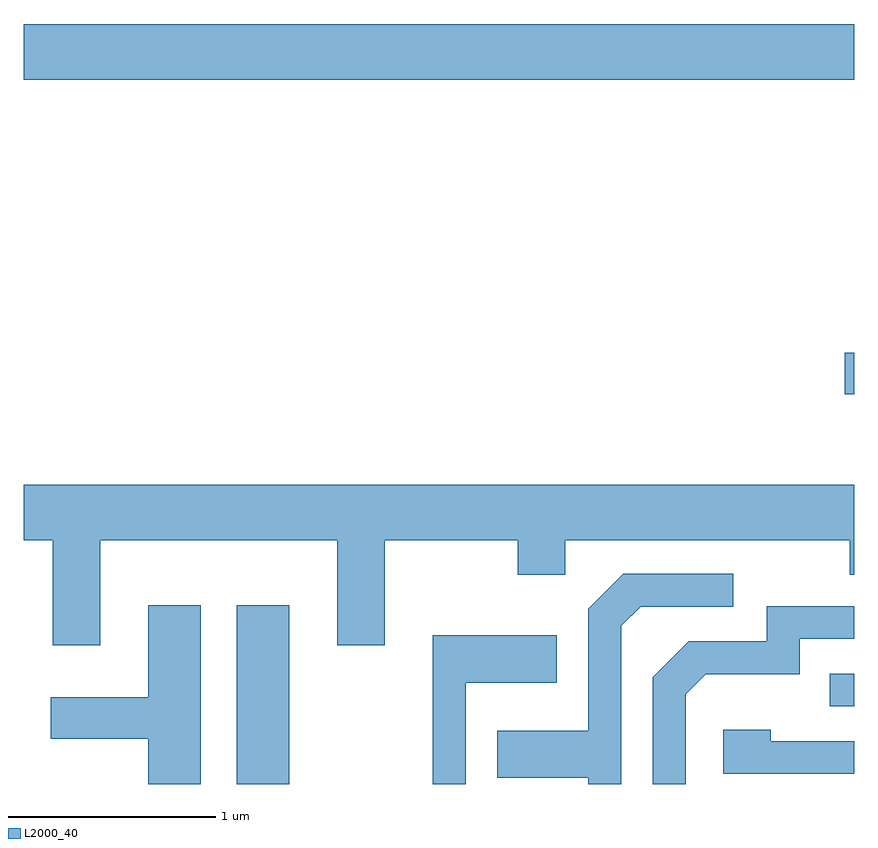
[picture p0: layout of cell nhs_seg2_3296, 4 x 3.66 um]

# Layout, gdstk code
import gdstk
lib = gdstk.Library(unit=1e-6, precision=1e-09)
def R(c, l, rs):  # rectangles x0, y0, x1, y1
    for r in rs: c.add(gdstk.rectangle(r[:2], r[2:], *l))
def P(c, l, *ps):  # polygons
    for p in ps: c.add(gdstk.Polygon(p, *l))
L2000_40 = (2000, 40)

nhs_seg2_3296 = lib.new_cell('nhs_seg2_3296')
R(nhs_seg2_3296, L2000_40, [(282.636,1053.802,282.889,1054.664), (285.493,1054.176,285.611,1054.334), (285.566,1055.681,285.611,1055.879), (281.611,1057.196,285.611,1057.464)])
P(nhs_seg2_3296, L2000_40, [(281.979,1054.976),(283.121,1054.976),(283.121,1054.471),(283.349,1054.471),(283.349,1054.976),(283.991,1054.976),(283.991,1054.811),(284.219,1054.811),(284.219,1054.976),(285.591,1054.976),(285.591,1054.811),(285.611,1054.811),(285.611,1055.244),(281.611,1055.244),(281.611,1054.976),(281.751,1054.976),(281.751,1054.471),(281.979,1054.471)],
  [(284.489,1054.564),(284.582,1054.656),(285.028,1054.656),(285.028,1054.814),(284.499,1054.814),(284.331,1054.647),(284.331,1054.059),(283.891,1054.059),(283.891,1053.831),(284.331,1053.831),(284.331,1053.802),(284.489,1053.802)],
  [(282.464,1054.664),(282.211,1054.664),(282.211,1054.219),(281.741,1054.219),(281.741,1054.021),(282.211,1054.021),(282.211,1053.802),(282.464,1053.802)],
  [(284.799,1054.234),(284.897,1054.331),(285.349,1054.331),(285.349,1054.501),(285.611,1054.501),(285.611,1054.659),(285.191,1054.659),(285.191,1054.489),(284.814,1054.489),(284.641,1054.317),(284.641,1053.802),(284.799,1053.802)],
  [(283.739,1054.291),(284.179,1054.291),(284.179,1054.519),(283.581,1054.519),(283.581,1053.802),(283.739,1053.802)],
  [(285.611,1054.009),(285.209,1054.009),(285.209,1054.064),(284.981,1054.064),(284.981,1053.851),(285.611,1053.851)])

lib.write_gds('nhs_seg2_3296.gds')
